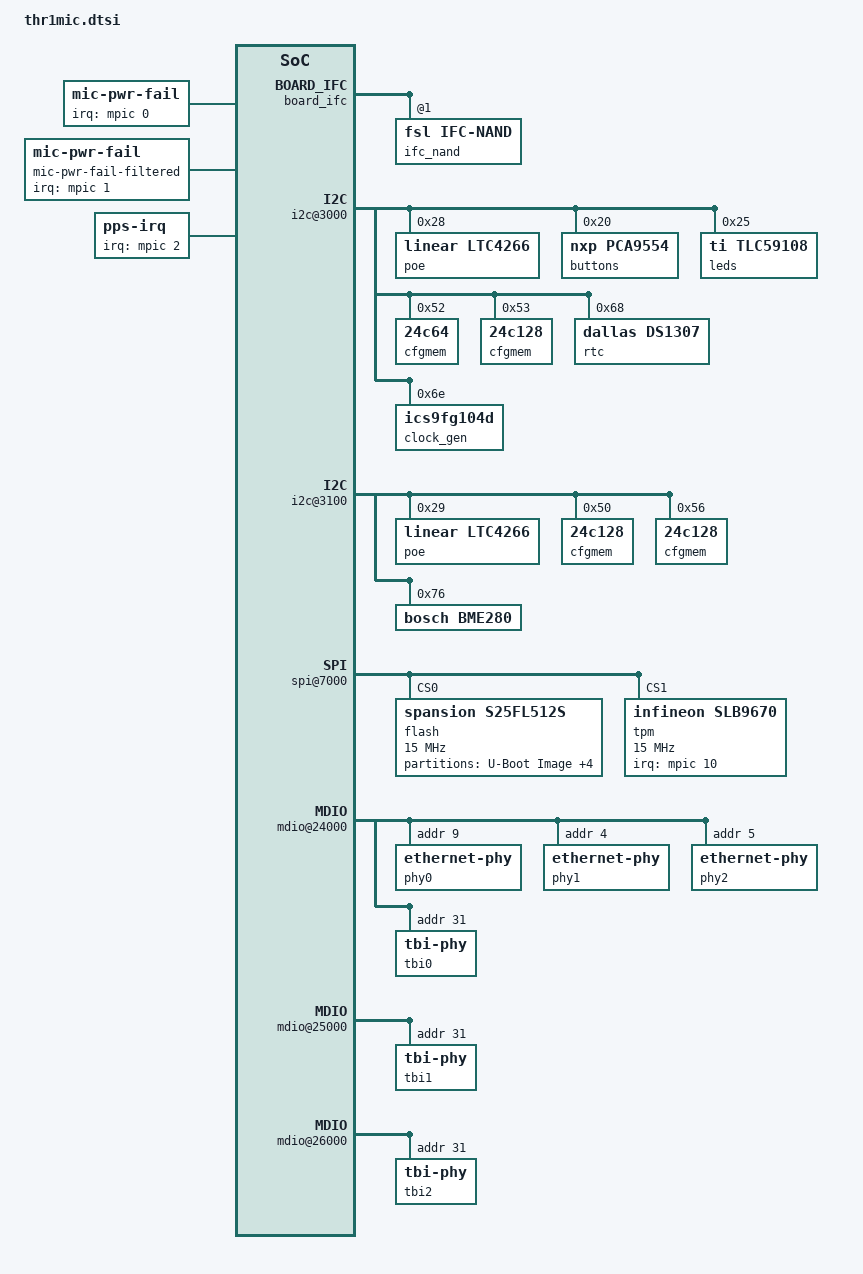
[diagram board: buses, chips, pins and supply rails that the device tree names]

&board_ifc {

	ifc_nand: nand@1,0 {
		#address-cells = <1>;
		#size-cells = <1>;
		compatible = "fsl,ifc-nand";
		reg = <0x1 0x0 0x10000>;
	};
};

&board_soc {

	i2c@3000 {
		/* ETH, PoE */
		poe@28 {
			compatible = "linear,ltc4266";
			reg = <0x28>;
		};
		/* Only on ETH, revision 2 */
		buttons@20 {
			compatible = "nxp,pca9554";
			reg = <0x20>;
		};
		/* Only on ETH, revision 2 */
		leds@25 {
			#address-cells = <1>;
			#size-cells = <0>;
			compatible = "ti,tlc59108";
			reg = <0x25>;

			ledA_r@0 {
				label = "status:a:red";
				reg = <0x0>;
			};
			ledA_g@1 {
				label = "status:a:green";
				reg = <0x1>;
			};
			ledA_b@2 {
				label = "status:a:blue";
				reg = <0x2>;
			};
			ledB_r@3 {
				label = "status:b:red";
				reg = <0x3>;
			};
			ledB_g@4 {
				label = "status:b:green";
				reg = <0x4>;
			};
			ledB_b@5 {
				label = "status:b:blue";
				reg = <0x5>;
			};
		};
		/* CPU, FRAM - maybe this will be removed? */
		cfgmem@52 {
			compatible = "24c64";
			reg = <0x52>;
			pagesize = <0x8000>;
		};
		/* ETH, E2PROM */
		cfgmem@53 {
			compatible = "24c128";
			reg = <0x53>;
			pagesize = <0x40>;
		};
		/* ETH, RTC */
		rtc@68 {
			compatible = "dallas,ds1307";
			reg = <0x68>;
		};
		/* CPU, ClockGen */
		clock_gen@6e {
			compatible = "ics9fg104d";
			reg = <0x6e>;
		};
	};

	i2c@3100 {
		/* DSI, PoE */
		poe@29 {
			compatible = "linear,ltc4266";
			reg = <0x29>;
		};
		/* DSI, E2PROM */
		cfgmem@50 {
			compatible = "24c128";
			reg = <0x50>;
			pagesize = <0x40>;
		};
		/* BCK, 0x56 E2PROM? */
		cfgmem@56 {
			compatible = "24c128";
			reg = <0x56>;
			pagesize = <0x40>;
		};
		/* FAN, 0x76 Env. sensor? */
		bme280@76 {
			compatible = "bosch,bme280";
			reg = <0x76>;
		};
	};

	spi@7000 {

		omic,cs-gpios = <&gpio 0 0   /* SPI_A0 */
				 &gpio 5 0>; /* SPI_A1 */

		flash@0 {
			#address-cells = <1>;
			#size-cells = <1>;
			compatible = "spansion,s25fl512s";
			reg = <0>;
			omic,reg = <0>;
			omic,gpio-val = <1 1>;
			spi-max-frequency = <15000000>;

			/* These should match the values from U-boot */
			partition@0000000 { reg = <0x0000000 0x00C0000>; label = "U-Boot Image"; read-only; };
			partition@00C0000 { reg = <0x00C0000 0x0040000>; label = "U-Boot Environment"; read-only; };
			partition@0100000 { reg = <0x0100000 0x0F00000>; label = "Rescue Linux Kernel"; };
			partition@1000000 { reg = <0x1000000 0x0040000>; label = "Calibration File System"; };
			partition@1040000 { reg = <0x1040000 0x04C0000>; label = "Resistant File System"; };
		};

		tpm@1 {
			#address-cells = <1>;
			#size-cells = <1>;
			compatible = "infineon,slb9670";
			reg = <1>;
			omic,reg = <0>;
			omic,gpio-val = <1 0>;
			spi-max-frequency = <15000000>;
			interrupt-parent = <&mpic>;
			interrupts = <10 1 0 0>;
			ignore-wait;
		};
	};

	sata@18000 {
		status = "disabled";
	};

	sata@19000 {
		status = "disabled";
	};

	can0: can@1c000 {
		status = "disabled";
	};

	can1: can@1d000 {
		status = "disabled";
	};

	usb@22000 {
		dr_mode = "peripheral";
		phy_type = "utmi";
	};

	mdio@24000 {
		phy0: ethernet-phy@0 {
			reg = <0x9>;
		};

		phy1: ethernet-phy@1 {
			reg = <0x4>;
		};

		phy2: ethernet-phy@2 {
			reg = <0x5>;
		};

		tbi0: tbi-phy@31 {
			reg = <0x1f>;
			device_type = "tbi-phy";
		};
	};

	mdio@25000 {
		tbi1: tbi-phy@31 {
			reg = <0x1f>;
			device_type = "tbi-phy";
		};
	};

	mdio@26000 {
		tbi2: tbi-phy@31 {
			reg = <0x1f>;
			device_type = "tbi-phy";
		};
	};

	sdhc@2e000 {
		status = "disabled";
	};

	crypto@30000 {
		status = "disabled";
	};

	/*
	 * TimerOsc     = system clock			MHz
	 * tclk_period  = desired clock period		nanoseconds
	 * NominalFreq  = 1000 / tclk_period		MHz
	 * FreqDivRatio = TimerOsc / NominalFreq	(must be greater that 1.0)
	 * tmr_add      = ceil(2^32 / FreqDivRatio)
	 * OutputClock  = NominalFreq / tmr_prsc	MHz
	 * PulseWidth   = 1 / OutputClock		microseconds
	 * FiperFreq1   = desired frequency in Hz
	 * FiperDiv1    = 1000000 * OutputClock / FiperFreq1
	 * tmr_fiper1   = tclk_period * (tmr_prsc * FiperDiv1 - 1)
	 * max_adj      = 1000000000 * (FreqDivRatio - 1.0) - 1
	 */

	/* 3 usec pulse */

        ptp_clock@b0e00 {
		compatible = "fsl,etsec-ptp";
		reg = <0xb0e00 0xb0>;
		interrupts = <68 2 0 0 69 2 0 0 70 2 0 0>;
		fsl,tclk-period = <8>;
		fsl,tmr-prsc =	 <500>;
		fsl,tmr-add =	 <0x66666667>;
		fsl,tmr-fiper1 = <999999992>;
		fsl,tmr-fiper2 = <999999992>;
		fsl,max-adj =	 <0x59682EFF>;
		fsl,cksel =      <0x00>;
                fsl,bypass =     <1>;
	};

	ethernet@b0000 {
		phy-handle = <&phy0>;
		tbi-handle = <&tbi0>;
		phy-connection-type = "sgmii";
		rx-napi-map = <0x1F>;
		non-napi-tx;
	};

	ethernet@b1000 {
		phy-handle = <&phy1>;
		tbi-handle = <&tbi1>;
		phy-connection-type = "sgmii";
		rx-napi-map = <0x1F>;
		non-napi-tx;
	};

	ethernet@b2000 {
		phy-handle = <&phy2>;
		tbi-handle = <&tbi2>;
		phy-connection-type = "sgmii";
		rx-napi-map = <0x1F>;
		non-napi-tx;
	};

	gpio: gpio-controller@fc00 {
	};

	leds {
		compatible = "gpio-leds";
//		LED-A {
//			/* LED D7, on the edge of the board. */
//			gpios = <&gpio 5 1>;
//			default-state = "keep";
//		};
	};

	mic-pwr-fail {
		compatible = "mic-pwr-fail", "maio-pwr-fail";
		interrupt-parent = <&mpic>;
		interrupts = <0 0 0 0>;
	};

	mic-pwr-fail-filtered {
		compatible = "mic-pwr-fail", "maio-pwr-fail";
		interrupt-parent = <&mpic>;
		interrupts = <1 0 0 0>;
	};

	pps-irq {
		compatible = "pps-irq";
		interrupt-parent = <&mpic>;
		/* the following line  means:
		   it's interrupt pin IRQ2
		   it's low to high triggered
		   see also Documentation/devicetree/bindings/powerpc/fsl/mpic.txt
		*/
		interrupts = <2 0 0 0>;
	};
};

/ {
	aliases {
		/delete-property/ can0;
		/delete-property/ can1;
		ethernet0 = &enet0;
		ethernet1 = &enet1;
		ethernet2 = &enet2;
	};
};
